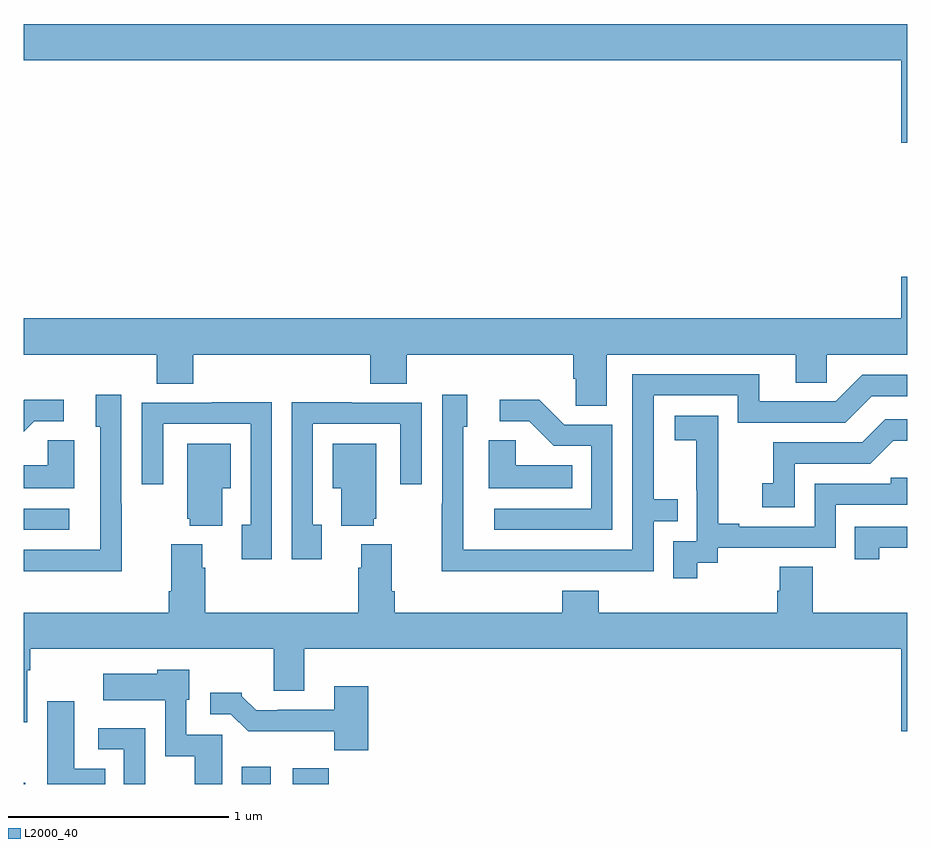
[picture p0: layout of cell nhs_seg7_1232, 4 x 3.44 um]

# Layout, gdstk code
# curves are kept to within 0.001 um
import gdstk
lib = gdstk.Library(unit=1e-6, precision=1e-09)
def R(c, l, rs):  # rectangles x0, y0, x1, y1
    for r in rs: c.add(gdstk.rectangle(r[:2], r[2:], *l))
def P(c, l, *ps):  # polygons
    for p in ps: c.add(gdstk.Polygon(p, *l))
L2000_40 = (2000, 40)

nhs_seg7_1232 = lib.new_cell('nhs_seg7_1232')
R(nhs_seg7_1232, L2000_40, [(197,1004,197.008,1004.005), (197.987,1004,198.118,1004.077), (198.218,1004,198.38,1004.071), (197,1005.15,197.206,1005.246)])
P(nhs_seg7_1232, L2000_40, [(201,1007.44),(197,1007.44),(197,1007.276),(200.972,1007.276),(200.972,1006.902),(201,1006.902)],
  [(199.639,1005.944),(200.495,1005.944),(200.495,1005.817),(200.634,1005.817),(200.634,1005.944),(201,1005.944),(201,1006.297),(200.972,1006.297),(200.972,1006.108),(197,1006.108),(197,1005.944),(197.603,1005.944),(197.603,1005.811),(197.768,1005.811),(197.768,1005.944),(198.569,1005.944),(198.569,1005.811),(198.734,1005.811),(198.734,1005.944),(199.487,1005.944),(199.487,1005.835),(199.5,1005.835),(199.5,1005.712),(199.639,1005.712)],
  [(199.355,1004.964),(199.851,1004.964),(199.851,1005.189),(199.961,1005.189),(199.961,1005.29),(199.851,1005.29),(199.851,1005.759),(200.232,1005.759),(200.232,1005.636),(200.718,1005.636),(200.838,1005.756),(201,1005.756),(201,1005.852),(200.796,1005.852),(200.676,1005.732),(200.329,1005.732),(200.329,1005.855),(199.755,1005.855),(199.755,1005.06),(198.99,1005.06),(198.99,1005.618),(199.009,1005.618),(199.009,1005.763),(198.894,1005.763),(198.894,1005.269),(198.892,1005.269),(198.892,1004.963)],
  [(197.445,1005.269),(197.442,1005.269),(197.442,1005.763),(197.327,1005.763),(197.327,1005.618),(197.346,1005.618),(197.346,1005.06),(197,1005.06),(197,1004.963),(197.445,1004.963)],
  [(197.047,1005.642),(197.182,1005.642),(197.182,1005.74),(197.003,1005.74),(197,1005.737),(197,1005.595)],
  [(199.665,1005.627),(199.446,1005.627),(199.333,1005.74),(199.155,1005.74),(199.155,1005.642),(199.289,1005.642),(199.4,1005.531),(199.569,1005.531),(199.569,1005.246),(199.131,1005.246),(199.131,1005.15),(199.665,1005.15)],
  [(198.123,1005.728),(197.851,1005.728),(197.851,1005.726),(197.535,1005.726),(197.535,1005.357),(197.631,1005.357),(197.631,1005.63),(198.027,1005.63),(198.027,1005.174),(197.987,1005.174),(197.987,1005.018),(198.123,1005.018)],
  [(198.349,1005.174),(198.309,1005.174),(198.309,1005.63),(198.705,1005.63),(198.705,1005.357),(198.801,1005.357),(198.801,1005.726),(198.485,1005.726),(198.485,1005.728),(198.213,1005.728),(198.213,1005.018),(198.349,1005.018)],
  [(200.05,1005.001),(200.142,1005.001),(200.142,1005.069),(200.676,1005.069),(200.676,1005.264),(201,1005.264),(201,1005.387),(200.925,1005.387),(200.925,1005.36),(200.58,1005.36),(200.58,1005.165),(200.239,1005.165),(200.239,1005.178),(200.144,1005.178),(200.144,1005.461),(200.145,1005.461),(200.145,1005.667),(199.947,1005.667),(199.947,1005.557),(200.045,1005.557),(200.045,1005.329),(200.046,1005.329),(200.046,1005.099),(199.941,1005.099),(199.941,1004.931),(200.05,1004.931)],
  [(200.49,1005.45),(200.832,1005.45),(200.936,1005.554),(201,1005.554),(201,1005.651),(200.9,1005.651),(200.795,1005.546),(200.392,1005.546),(200.392,1005.361),(200.343,1005.361),(200.343,1005.252),(200.49,1005.252)],
  [(199.484,1005.442),(199.227,1005.442),(199.227,1005.557),(199.106,1005.557),(199.106,1005.338),(199.484,1005.338)],
  [(197.23,1005.557),(197.109,1005.557),(197.109,1005.442),(197,1005.442),(197,1005.338),(197.23,1005.338)],
  [(198.584,1005.201),(198.595,1005.201),(198.595,1005.541),(198.398,1005.541),(198.398,1005.338),(198.437,1005.338),(198.437,1005.17),(198.584,1005.17)],
  [(197.899,1005.338),(197.938,1005.338),(197.938,1005.541),(197.741,1005.541),(197.741,1005.201),(197.753,1005.201),(197.753,1005.17),(197.899,1005.17)],
  [(200.872,1005.069),(201,1005.069),(201,1005.165),(200.761,1005.165),(200.761,1005.018),(200.872,1005.018)],
  [(201,1004.776),(200.571,1004.776),(200.571,1004.984),(200.423,1004.984),(200.423,1004.874),(200.411,1004.874),(200.411,1004.776),(199.604,1004.776),(199.604,1004.875),(199.439,1004.875),(199.439,1004.776),(198.68,1004.776),(198.68,1004.872),(198.667,1004.872),(198.667,1005.085),(198.527,1005.085),(198.527,1004.978),(198.515,1004.978),(198.515,1004.776),(197.822,1004.776),(197.822,1004.978),(197.809,1004.978),(197.809,1005.085),(197.669,1005.085),(197.669,1004.872),(197.657,1004.872),(197.657,1004.776),(197,1004.776),(197,1004.28),(197.016,1004.28),(197.016,1004.516),(197.029,1004.516),(197.029,1004.612),(198.131,1004.612),(198.131,1004.422),(198.271,1004.422),(198.271,1004.612),(200.972,1004.612),(200.972,1004.238),(201,1004.238)],
  [(197.899,1004.223),(197.736,1004.223),(197.736,1004.382),(197.749,1004.382),(197.749,1004.518),(197.604,1004.518),(197.604,1004.5),(197.361,1004.5),(197.361,1004.378),(197.64,1004.378),(197.64,1004.126),(197.774,1004.126),(197.774,1004),(197.899,1004)],
  [(198.56,1004.443),(198.407,1004.443),(198.407,1004.337),(198.151,1004.337),(198.151,1004.334),(198.052,1004.334),(197.988,1004.398),(197.988,1004.413),(197.844,1004.413),(197.844,1004.316),(197.937,1004.316),(198.016,1004.238),(198.405,1004.238),(198.405,1004.153),(198.56,1004.153)],
  [(197.369,1004.068),(197.23,1004.068),(197.23,1004.374),(197.108,1004.374),(197.108,1004),(197.369,1004)],
  [(197.55,1004.253),(197.337,1004.253),(197.337,1004.157),(197.454,1004.157),(197.454,1004),(197.55,1004)])

lib.write_gds('nhs_seg7_1232.gds')
